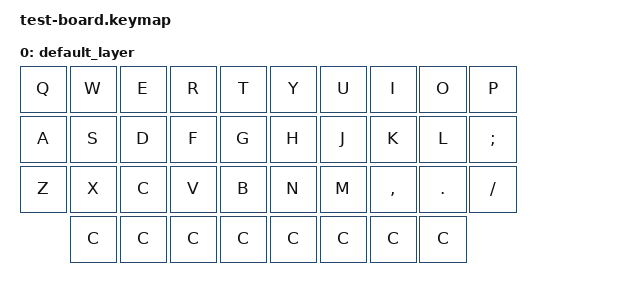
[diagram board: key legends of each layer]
#include <behaviors.dtsi>
#include <dt-bindings/zmk/keys.h>
#include <dt-bindings/zmk/bt.h>

/ {
    chosen {
        zmk,matrix-transform = &default_transform;
    };
};

/ {
        keymap {
                compatible = "zmk,keymap";

                default_layer {
                        bindings = <
        &kp Q &kp W &kp E &kp R &kp T   &kp Y &kp U  &kp I     &kp O   &kp P    
        &kp A &kp S &kp D &kp F &kp G   &kp H &kp J  &kp K     &kp L   &kp SEMI 
        &kp Z &kp X &kp C &kp V &kp B   &kp N &kp M  &kp COMMA &kp DOT &kp FSLH 
              &kp C &kp C &kp C &kp C   &kp C &kp C  &kp C     &kp C
                        >;
                };
 
        };
};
